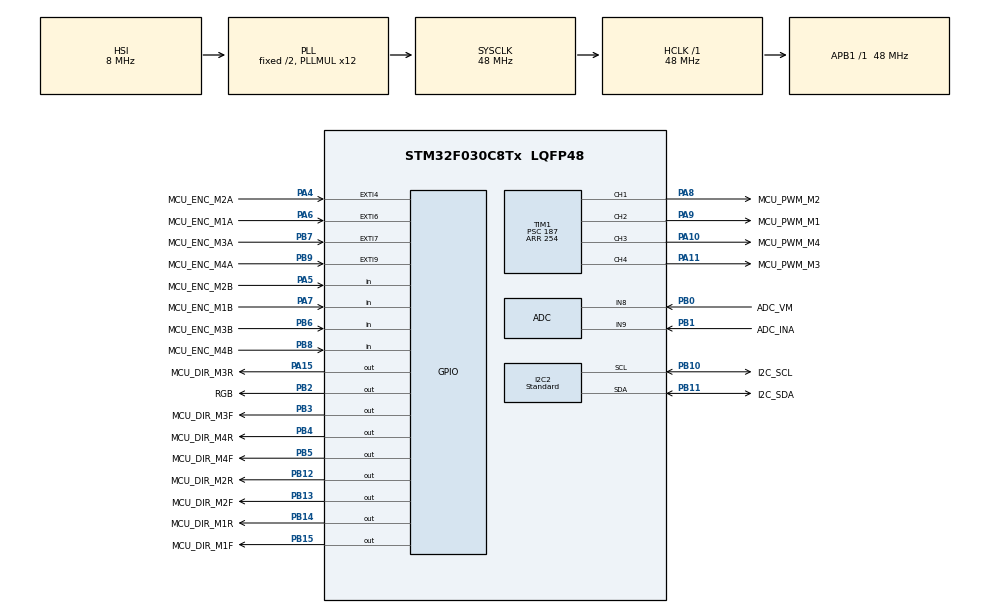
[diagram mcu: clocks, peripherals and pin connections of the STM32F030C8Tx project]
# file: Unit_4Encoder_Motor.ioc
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ADC.ClockPrescaler=ADC_CLOCK_SYNC_PCLK_DIV4
ADC.ContinuousConvMode=ENABLE
ADC.DMAContinuousRequests=ENABLE
ADC.SamplingTime=ADC_SAMPLETIME_239CYCLES_5
Dma.ADC.0.Direction=DMA_PERIPH_TO_MEMORY
Dma.ADC.0.Instance=DMA1_Channel1
Dma.ADC.0.MemDataAlignment=DMA_MDATAALIGN_HALFWORD
Dma.ADC.0.MemInc=DMA_MINC_ENABLE
Dma.ADC.0.Mode=DMA_CIRCULAR
Dma.ADC.0.PeriphDataAlignment=DMA_PDATAALIGN_HALFWORD
Dma.ADC.0.PeriphInc=DMA_PINC_DISABLE
Dma.ADC.0.Priority=DMA_PRIORITY_LOW
Dma.Request0=ADC
I2C2.I2C_Speed_Mode=I2C_Standard
I2C2.OwnAddress=48
I2C2.Timing=0x10805D88
IWDG.Prescaler=IWDG_PRESCALER_32
IWDG.Reload=4000
Mcu.Family=STM32F0
Mcu.Name=STM32F030C8Tx
Mcu.Package=LQFP48
NVIC.DMA1_Channel1_IRQn=true\:1\:0\:true\:false\:true\:false\:true\:true
NVIC.EXTI4_15_IRQn=true\:1\:0\:true\:false\:true\:true\:true\:true
NVIC.I2C2_IRQn=true\:0\:0\:false\:false\:true\:true\:true\:true
PA10.GPIO_Label=MCU_PWM_M4
PA10.Signal=S_TIM1_CH3
PA11.GPIO_Label=MCU_PWM_M3
PA11.Signal=S_TIM1_CH4
PA15.GPIO_Label=MCU_DIR_M3R
PA15.Signal=GPIO_Output
PA4.GPIO_Label=MCU_ENC_M2A
PA4.GPIO_ModeDefaultEXTI=GPIO_MODE_IT_RISING_FALLING
PA4.GPIO_PuPd=GPIO_PULLUP
PA4.Signal=GPXTI4
PA5.GPIO_Label=MCU_ENC_M2B
PA5.GPIO_PuPd=GPIO_NOPULL
PA5.Signal=GPIO_Input
PA6.GPIO_Label=MCU_ENC_M1A
PA6.GPIO_ModeDefaultEXTI=GPIO_MODE_IT_RISING_FALLING
PA6.Signal=GPXTI6
PA7.GPIO_Label=MCU_ENC_M1B
PA7.GPIO_PuPd=GPIO_NOPULL
PA7.Signal=GPIO_Input
PA8.GPIO_Label=MCU_PWM_M2
PA8.Signal=S_TIM1_CH1
PA9.GPIO_Label=MCU_PWM_M1
PA9.Signal=S_TIM1_CH2
PB0.GPIO_Label=ADC_VM
PB0.Mode=IN8
PB0.Signal=ADC_IN8
PB1.GPIO_Label=ADC_INA
PB1.Mode=IN9
PB1.Signal=ADC_IN9
PB10.GPIO_Label=I2C_SCL
PB10.Mode=I2C
PB10.Signal=I2C2_SCL
PB11.GPIO_Label=I2C_SDA
PB11.Mode=I2C
PB11.Signal=I2C2_SDA
PB12.GPIO_Label=MCU_DIR_M2R
PB12.Signal=GPIO_Output
PB13.GPIO_Label=MCU_DIR_M2F
PB13.Signal=GPIO_Output
PB14.GPIO_Label=MCU_DIR_M1R
PB14.Signal=GPIO_Output
PB15.GPIO_Label=MCU_DIR_M1F
PB15.Signal=GPIO_Output
PB2.GPIO_Label=RGB
PB2.Signal=GPIO_Output
PB3.GPIO_Label=MCU_DIR_M3F
PB3.Signal=GPIO_Output
PB4.GPIO_Label=MCU_DIR_M4R
PB4.Signal=GPIO_Output
PB5.GPIO_Label=MCU_DIR_M4F
PB5.Signal=GPIO_Output
PB6.GPIO_Label=MCU_ENC_M3B
PB6.Signal=GPIO_Input
PB7.GPIO_Label=MCU_ENC_M3A
PB7.GPIO_ModeDefaultEXTI=GPIO_MODE_IT_RISING_FALLING
PB7.GPIO_PuPd=GPIO_PULLUP
PB7.Signal=GPXTI7
PB8.GPIO_Label=MCU_ENC_M4B
PB8.Signal=GPIO_Input
PB9.GPIO_Label=MCU_ENC_M4A
PB9.GPIO_ModeDefaultEXTI=GPIO_MODE_IT_RISING_FALLING
PB9.GPIO_PuPd=GPIO_PULLUP
PB9.Signal=GPXTI9
ProjectManager.HeapSize=0x200
ProjectManager.StackSize=0x400
ProjectManager.TargetToolchain=STM32CubeIDE
RCC.AHBFreq_Value=48000000
RCC.APB1Freq_Value=48000000
RCC.APB1TimFreq_Value=48000000
RCC.HCLKFreq_Value=48000000
RCC.PLLMUL=RCC_PLL_MUL12
RCC.SYSCLKFreq_VALUE=48000000
RCC.SYSCLKSource=RCC_SYSCLKSOURCE_PLLCLK
SH.S_TIM1_CH1.0=TIM1_CH1,PWM Generation1 CH1
SH.S_TIM1_CH2.0=TIM1_CH2,PWM Generation2 CH2
SH.S_TIM1_CH3.0=TIM1_CH3,PWM Generation3 CH3
SH.S_TIM1_CH4.0=TIM1_CH4,PWM Generation4 CH4
TIM1.Channel-PWM\ Generation1\ CH1=TIM_CHANNEL_1
TIM1.Channel-PWM\ Generation2\ CH2=TIM_CHANNEL_2
TIM1.Channel-PWM\ Generation3\ CH3=TIM_CHANNEL_3
TIM1.Channel-PWM\ Generation4\ CH4=TIM_CHANNEL_4
TIM1.OCIdleState_1=TIM_OCIDLESTATE_SET
TIM1.OCIdleState_2=TIM_OCIDLESTATE_SET
TIM1.OCIdleState_3=TIM_OCIDLESTATE_SET
TIM1.OCIdleState_4=TIM_OCIDLESTATE_SET
TIM1.OCPolarity_1=TIM_OCPOLARITY_LOW
TIM1.OCPolarity_2=TIM_OCPOLARITY_LOW
TIM1.OCPolarity_3=TIM_OCPOLARITY_LOW
TIM1.OCPolarity_4=TIM_OCPOLARITY_LOW
TIM1.Period=254
TIM1.Prescaler=187
TIM1.TIM_MasterSlaveMode=TIM_MASTERSLAVEMODE_DISABLE
VP_ADC_Vref_Input.Mode=IN-Vrefint
VP_IWDG_VS_IWDG.Mode=IWDG_Activate
VP_TIM1_VS_ClockSourceINT.Mode=Internal
board=custom

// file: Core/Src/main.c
/* USER CODE BEGIN Header */
/**
 ******************************************************************************
 * @file           : main.c
 * @brief          : Main program body
 ******************************************************************************
 * @attention
 *
 * Copyright (c) 2025 STMicroelectronics.
 * All rights reserved.
 *
 * This software is licensed under terms that can be found in the LICENSE file
 * in the root directory of this software component.
 * If no LICENSE file comes with this software, it is provided AS-IS.
 *
 ******************************************************************************
 */
/* USER CODE END Header */
#include "main.h"
#include "adc.h"
#include "dma.h"
#include "i2c.h"
#include "iwdg.h"
#include "tim.h"
#include "gpio.h"

/* USER CODE BEGIN Includes */
#include "../myfiles/motorencoder.h"
#include "../myfiles/motorbdc.h"
#include "../myfiles/ws2812.h"
#include "../myfiles/pt_task.h"
#include "../myfiles/sys_utils.h"
#include "../myfiles/flash.h"
#include <string.h>
/* USER CODE END Includes */

/* USER CODE BEGIN PV */
volatile PeriError_TypeDef peri_error = {0};
volatile EventFlags_t g_events        = {0};
static uint8_t i2c_handle_tx_buf[128];
volatile uint8_t *p_bootloader_version = (volatile uint8_t *)BOOTLOADER_VER_ADDR;
volatile uint8_t fm_version            = FIRMWARE_VERSION;

volatile rgb_data_t rgb_data = {0};

// Device Unique identifier
__IO uint8_t g_uid[12] = {0};  // Unique identifier
/* USER CODE END PV */

void SystemClock_Config(void);

/* USER CODE BEGIN 0 */
uint32_t millis(void)
{
    return HAL_GetTick();
}

__STATIC_INLINE uint32_t GXT_SYSTICK_IsActiveCounterFlag(void)
{
    return ((SysTick->CTRL & SysTick_CTRL_COUNTFLAG_Msk) == (SysTick_CTRL_COUNTFLAG_Msk));
}

static uint32_t getCurrentMicros(void)
{
    /* Ensure COUNTFLAG is reset by reading SysTick control and status register */
    GXT_SYSTICK_IsActiveCounterFlag();
    uint32_t m         = HAL_GetTick();
    const uint32_t tms = SysTick->LOAD + 1;
    __IO uint32_t u    = tms - SysTick->VAL;
    if (GXT_SYSTICK_IsActiveCounterFlag()) {
        m = HAL_GetTick();
        u = tms - SysTick->VAL;
    }
    return (m * 1000 + (u * 1000) / tms);
}

// 获取系统时间，单位us
uint32_t micros(void)
{
    return getCurrentMicros();
}

static void Prepare_I2C_Read_Response(uint8_t reg)
{
    i2c2_set_send_data(NULL, 0);

    if ((reg >= I2C_RX_MOTOR_THROTTLE_BASE) && (reg <= I2C_RX_MOTOR_CONFIG_LIMIT)) {
        if ((reg >= I2C_RX_MOTOR_THROTTLE_BASE) && (reg <= (I2C_RX_MOTOR_THROTTLE_BASE + 3))) {
            uint8_t motor_id     = reg - I2C_RX_MOTOR_THROTTLE_BASE;
            i2c_handle_tx_buf[0] = motor_data.motor_throttle[motor_id];
            i2c2_set_send_data((uint8_t *)&i2c_handle_tx_buf[0], 1);
        } else if ((reg >= I2C_RX_ENCODER_BASE) && (reg <= (I2C_RX_ENCODER_BASE + 15))) {
            uint8_t encoder_offset = reg - I2C_RX_ENCODER_BASE;
            uint8_t motor_id       = encoder_offset / 4;
            uint8_t byte_index     = encoder_offset % 4;

            if (motor_id < 4) {
                uint32_t raw_value = encoder_raw[motor_id].encoder_raw.value;
                uint8_t encoder_bytes[4];
                encoder_bytes[3] = (raw_value >> 24) & 0xFF;
                encoder_bytes[2] = (raw_value >> 16) & 0xFF;
                encoder_bytes[1] = (raw_value >> 8) & 0xFF;
                encoder_bytes[0] = raw_value & 0xFF;

                uint8_t remaining_bytes = 4 - byte_index;
                memcpy(&i2c_handle_tx_buf[0], &encoder_bytes[byte_index], remaining_bytes);
                i2c2_set_send_data((uint8_t *)&i2c_handle_tx_buf[0], remaining_bytes);
            }
        } else if ((reg >= I2C_TX_SPEED_VALUE_ADDR) && (reg <= (I2C_TX_SPEED_VALUE_ADDR + 3))) {
            uint8_t motor_id = reg - I2C_TX_SPEED_VALUE_ADDR;
            if (motor_id < 4) {
                i2c_handle_tx_buf[0] = motor_data.speed[motor_id];
                i2c2_set_send_data((uint8_t *)&i2c_handle_tx_buf[0], 1);
            }
        } else if ((reg >= I2C_RX_MOTOR_CONFIG_BASE) && (reg <= I2C_RX_MOTOR_CONFIG_LIMIT)) {
            uint8_t config_index = 0;
            uint8_t motor_id     = 4;

            if ((reg >= I2C_RX_MOTOR1_CONFIG_ADDR) && (reg < I2C_RX_MOTOR1_CONFIG_ADDR + I2C_RX_MOTOR_CONFIG_COUNT)) {
                config_index = reg - I2C_RX_MOTOR1_CONFIG_ADDR;
                motor_id     = 0;
            } else if ((reg >= I2C_RX_MOTOR2_CONFIG_ADDR) &&
                       (reg < I2C_RX_MOTOR2_CONFIG_ADDR + I2C_RX_MOTOR_CONFIG_COUNT)) {
                config_index = reg - I2C_RX_MOTOR2_CONFIG_ADDR;
                motor_id     = 1;
            } else if ((reg >= I2C_RX_MOTOR3_CONFIG_ADDR) &&
                       (reg < I2C_RX_MOTOR3_CONFIG_ADDR + I2C_RX_MOTOR_CONFIG_COUNT)) {
                config_index = reg - I2C_RX_MOTOR3_CONFIG_ADDR;
                motor_id     = 2;
            } else if ((reg >= I2C_RX_MOTOR4_CONFIG_ADDR) &&
                       (reg < I2C_RX_MOTOR4_CONFIG_ADDR + I2C_RX_MOTOR_CONFIG_COUNT)) {
                config_index = reg - I2C_RX_MOTOR4_CONFIG_ADDR;
                motor_id     = 3;
            }

            if ((motor_id < 4) && (config_index < I2C_RX_MOTOR_CONFIG_COUNT)) {
                uint8_t remaining_configs = I2C_RX_MOTOR_CONFIG_COUNT - config_index;
                memcpy(&i2c_handle_tx_buf[0], &motor_data.config[motor_id][config_index], remaining_configs);
                i2c2_set_send_data((uint8_t *)&i2c_handle_tx_buf[0], remaining_configs);
            }
        }
    } else if ((reg >= I2C_TX_ADC_CURRENT_VALUE_ADDR) && (reg <= I2C_TX_ADC_CURRENT_MAX_ADDR)) {
        memcpy(&i2c_handle_tx_buf[0], (uint8_t *)&adc_data.i_in_value, 4);
        i2c2_set_send_data((uint8_t *)&i2c_handle_tx_buf[reg - I2C_TX_ADC_CURRENT_VALUE_ADDR],
                           I2C_TX_ADC_CURRENT_MAX_ADDR - reg + 1);
    } else if ((reg >= I2C_TX_ADC_INA_RAW_VALUE_ADDR) && (reg <= I2C_TX_ADC_INA_RAW_MAX_ADDR)) {
        uint16_t adc_ina_raw = adc_data.adc_ina_raw;
        i2c_handle_tx_buf[0] = (uint8_t)(adc_ina_raw & 0xFF);
        i2c_handle_tx_buf[1] = (uint8_t)((adc_ina_raw >> 8) & 0xFF);
        i2c2_set_send_data((uint8_t *)&i2c_handle_tx_buf[reg - I2C_TX_ADC_INA_RAW_VALUE_ADDR],
                           I2C_TX_ADC_INA_RAW_MAX_ADDR - reg + 1);
    } else if ((reg >= I2C_TX_ADC_VM_VALUE_ADDR) && (reg <= I2C_TX_ADC_VM_MAX_ADDR)) {
        memcpy(&i2c_handle_tx_buf[0], (uint8_t *)&adc_data.uiAdcValueBuf[1], 2);
        memcpy(&i2c_handle_tx_buf[I2C_TX_MV_VM_VALUE_ADDR - I2C_TX_ADC_VM_VALUE_ADDR],
               (uint8_t *)&adc_data.voltage_vm_mv, 2);
        i2c2_set_send_data((uint8_t *)&i2c_handle_tx_buf[reg - I2C_TX_ADC_VM_VALUE_ADDR],
                           I2C_TX_ADC_VM_MAX_ADDR - reg + 1);
    } else if (reg == I2C_RX_SYSTEM_SETTINGS_BASE) {
        i2c_handle_tx_buf[0] = motor_data.encoder_ab_mode;
        i2c2_set_send_data((uint8_t *)&i2c_handle_tx_buf[0], 1);
    } else if (reg == I2C_RX_SOFT_START_AND_STOP) {
        i2c_handle_tx_buf[0] = motor_data.soft_start_stop_switch.value;
        i2c2_set_send_data((uint8_t *)&i2c_handle_tx_buf[0], 1);
    } else if ((reg >= I2C_TX_UID_VALUE_ADDR) && (reg <= I2C_TX_UID_VALUE_MAX_ADDR)) {
        uint8_t uid_offset = reg - I2C_TX_UID_VALUE_ADDR;
        if (uid_offset < sizeof(g_uid)) {
            uint8_t remaining_uid_bytes = sizeof(g_uid) - uid_offset;
            memcpy(&i2c_handle_tx_buf[0], (uint8_t *)&g_uid[uid_offset], remaining_uid_bytes);
            i2c2_set_send_data((uint8_t *)&i2c_handle_tx_buf[0], remaining_uid_bytes);
        }
    } else if ((reg >= I2C_RX_RGB_SETTINGS_BASE) && (reg <= I2C_RX_RGB_SETTINGS_LIMIT)) {
        if (reg == I2C_RX_RGB_SETTINGS_BASE) {
            memcpy(&i2c_handle_tx_buf[0], (uint8_t *)&rgb_data.rgb_data.value, 4);
            i2c2_set_send_data((uint8_t *)&i2c_handle_tx_buf[0], 4);
        } else if (reg == I2C_RX_RGB_SETTINGS_BASE + 4) {
            i2c_handle_tx_buf[0] = rgb_data.brightness;
            i2c2_set_send_data((uint8_t *)&i2c_handle_tx_buf[0], 1);
        }
    } else if ((reg >= I2C_TX_ERROR_BASE_ADDR) && (reg <= I2C_RX_I2C_ADDR_CMD_ADDR)) {
        i2c_handle_tx_buf[0] = peri_error.value;
        i2c_handle_tx_buf[1] = *p_bootloader_version;
        i2c_handle_tx_buf[2] = 0;
        i2c_handle_tx_buf[3] = fm_version;
        i2c_handle_tx_buf[4] = i2c_address[0];
        i2c2_set_send_data((uint8_t *)&i2c_handle_tx_buf[reg - I2C_TX_ERROR_BASE_ADDR],
                           I2C_RX_I2C_ADDR_CMD_ADDR - reg + 1);
    }
}

/** four */
void Slave_Complete_Callback(uint8_t *rx_data, uint16_t len)
{
    if (len == 1) {
        Prepare_I2C_Read_Response(rx_data[0]);
        return;
    }

    uint8_t rx_buf[128]  = {0};
    uint8_t rx_mark[128] = {0};

    // 主机写数据
    if (len > 1) {
        if ((rx_data[0] >= I2C_RX_MOTOR_THROTTLE_BASE) && (rx_data[0] <= I2C_RX_MOTOR_CONFIG_LIMIT)) {  // Motor Control
            for (int i = 0; i < len - 1; i++) {
                uint16_t rx_index = rx_data[0] - I2C_RX_MOTOR_THROTTLE_BASE + i;  // Get Control Register Index
                if (rx_index < sizeof(rx_buf)) {
                    rx_buf[rx_index]  = rx_data[1 + i];
                    rx_mark[rx_index] = 1;
                }
            }

            for (int i = 0; i < len - 1; i++) {
                uint16_t reg = (uint16_t)rx_data[0] + i;
                if ((reg >= I2C_RX_MOTOR_THROTTLE_BASE) && (reg <= (I2C_RX_MOTOR_THROTTLE_BASE + 3))) {
                    motor_data.motor_throttle[reg - I2C_RX_MOTOR_THROTTLE_BASE] = rx_data[1 + i];
                }
            }

            // 处理电机周期控制 (0x20-0x23)
            if ((rx_data[0] >= I2C_RX_MOTOR_THROTTLE_BASE) && (rx_data[0] <= (I2C_RX_MOTOR_THROTTLE_BASE + 3))) {
                uint8_t motor_id = rx_data[0] - I2C_RX_MOTOR_THROTTLE_BASE;   // 0,1,2,3
                if (rx_mark[rx_data[0] - I2C_RX_MOTOR_THROTTLE_BASE] == 1) {  // Get Specific motor id and data
                    motor_data.motor_throttle[motor_id] = rx_buf[rx_data[0] - I2C_RX_MOTOR_THROTTLE_BASE];
                }
            }

            // 处理编码器数据 (0x30-0x3F)
            if ((rx_data[0] >= I2C_RX_ENCODER_BASE) && (rx_data[0] <= (I2C_RX_ENCODER_BASE + 0x0F))) {
                uint8_t encoder_offset = rx_data[0] - I2C_RX_ENCODER_BASE;
                uint8_t motor_id       = encoder_offset / 4;  // 每个电机占用4个字节
                uint8_t byte_index     = encoder_offset % 4;  // 字节索引 (0,1,2,3)

                if (motor_id < 4) {  // 确保电机ID有效
                    for (int i = 0; i < 4; i++) {
                        if (((byte_index + i) < 4) && (rx_mark[rx_data[0] - I2C_RX_MOTOR_THROTTLE_BASE + i] == 1)) {
                            switch (byte_index + i) {
                                case 0:  // LSB
                                    encoder_raw[motor_id].encoder_raw.flags.encoder_raw_0 =
                                        rx_buf[rx_data[0] - I2C_RX_MOTOR_THROTTLE_BASE + i];
                                    break;
                                case 1:
                                    encoder_raw[motor_id].encoder_raw.flags.encoder_raw_1 =
                                        rx_buf[rx_data[0] - I2C_RX_MOTOR_THROTTLE_BASE + i];
                                    break;
                                case 2:
                                    encoder_raw[motor_id].encoder_raw.flags.encoder_raw_2 =
                                        rx_buf[rx_data[0] - I2C_RX_MOTOR_THROTTLE_BASE + i];
                                    break;
                                case 3:  // MSB
                                    encoder_raw[motor_id].encoder_raw.flags.encoder_raw_3 =
                                        rx_buf[rx_data[0] - I2C_RX_MOTOR_THROTTLE_BASE + i];
                                    break;
                            }
                        }
                    }
                }
            }

            // 处理电机配置数据 (0x50-0x8C)
            if ((rx_data[0] >= I2C_RX_MOTOR_CONFIG_BASE) && (rx_data[0] <= I2C_RX_MOTOR_CONFIG_LIMIT)) {
                uint8_t config_index = 0;
                uint8_t motor_id     = 4;

                // 配置电机0 0x50_0x5C
                if ((rx_data[0] >= I2C_RX_MOTOR1_CONFIG_ADDR) &&
                    (rx_data[0] < I2C_RX_MOTOR1_CONFIG_ADDR + I2C_RX_MOTOR_CONFIG_COUNT)) {
                    config_index = rx_data[0] - I2C_RX_MOTOR1_CONFIG_ADDR;
                    motor_id     = 0;
                }
                // 配置电机1 0x60_0x6C
                else if ((rx_data[0] >= I2C_RX_MOTOR2_CONFIG_ADDR) &&
                         (rx_data[0] < I2C_RX_MOTOR2_CONFIG_ADDR + I2C_RX_MOTOR_CONFIG_COUNT)) {
                    config_index = rx_data[0] - I2C_RX_MOTOR2_CONFIG_ADDR;
                    motor_id     = 1;
                }
                // 配置电机2 0x70_0x7C
                else if ((rx_data[0] >= I2C_RX_MOTOR3_CONFIG_ADDR) &&
                         (rx_data[0] < I2C_RX_MOTOR3_CONFIG_ADDR + I2C_RX_MOTOR_CONFIG_COUNT)) {
                    config_index = rx_data[0] - I2C_RX_MOTOR3_CONFIG_ADDR;
                    motor_id     = 2;
                }
                // 配置电机3 0x80_0x8C
                else if ((rx_data[0] >= I2C_RX_MOTOR4_CONFIG_ADDR) &&
                         (rx_data[0] < I2C_RX_MOTOR4_CONFIG_ADDR + I2C_RX_MOTOR_CONFIG_COUNT)) {
                    config_index = rx_data[0] - I2C_RX_MOTOR4_CONFIG_ADDR;
                    motor_id     = 3;
                }
                if (motor_id < 4) {  // 确保索引有效
                    for (int i = 0; i < len - 1; i++) {
                        uint16_t current_config_index = config_index + i;
                        //						if (current_config_index < I2C_RX_MOTOR_CONFIG_COUNT) {
                        uint16_t rx_idx = rx_data[0] - I2C_RX_MOTOR_THROTTLE_BASE + i;
                        if ((current_config_index < I2C_RX_MOTOR_CONFIG_COUNT) && (rx_idx < sizeof(rx_mark)) &&
                            (rx_mark[rx_idx] == 1)) {
                            motor_data.config[motor_id][current_config_index] = rx_buf[rx_idx];
                        }
                        //							if ((current_config_index == 12)) {
                        // printf("motor_id:%d, write addr:0x%02x, data:%d\r\n", motor_id, current_config_index,
                        // rx_buf[rx_idx]);
                        //							}
                        //						}
                    }
                }
            }
        }
        // System Setting
        // 设置A/B编码器模式(0xD0) 和 软启动开关
        else if ((rx_data[0] >= I2C_RX_SYSTEM_SETTINGS_BASE) && (rx_data[0] <= I2C_RX_SYSTEM_SETTINGS_LIMIT)) {
            for (int i = 0; i < len - 1; i++) {
                uint16_t rx_index = rx_data[0] - I2C_RX_SYSTEM_SETTINGS_BASE + i;  // Get Control Register Index
                if (rx_index < sizeof(rx_buf)) {
                    rx_buf[rx_index]  = rx_data[1 + i];
                    rx_mark[rx_index] = 1;
                }
            }
            // set encoder a/b mode
            if (rx_mark[0] == 1) {  // switch A/B mode
                if (motor_data.encoder_ab_mode != rx_buf[0]) {
                    motor_data.encoder_ab_mode     = rx_buf[0];
                    g_events.encoder_abmode_update = 1;
                    g_events.flash_config_update   = 1;
                }
            }
            if (rx_mark[I2C_RX_SOFT_START_AND_STOP - I2C_RX_SYSTEM_SETTINGS_BASE] == 1) {
                if (motor_data.soft_start_stop_switch.value !=
                    rx_buf[I2C_RX_SOFT_START_AND_STOP - I2C_RX_SYSTEM_SETTINGS_BASE]) {
                    motor_data.soft_start_stop_switch.value =
                        rx_buf[I2C_RX_SOFT_START_AND_STOP - I2C_RX_SYSTEM_SETTINGS_BASE];
                    g_events.flash_config_update = 1;
                }
            }
        }
        // set rgb color and brightness(0xC0-0xC4)
        else if ((rx_data[0] >= I2C_RX_RGB_SETTINGS_BASE) && (rx_data[0] <= I2C_RX_RGB_SETTINGS_LIMIT)) {
            for (int i = 0; i < len - 1; i++) {
                uint16_t rx_index = rx_data[0] - I2C_RX_RGB_SETTINGS_BASE + i;
                if (rx_index < sizeof(rx_buf)) {
                    rx_buf[rx_index]  = rx_data[1 + i];
                    rx_mark[rx_index] = 1;
                }
            }
            if (rx_mark[I2C_RX_RGB_SETTINGS_BASE - I2C_RX_RGB_SETTINGS_BASE] == 1) {
                rgb_data.rgb_data.flags.rgb_data_b = rx_buf[I2C_RX_RGB_SETTINGS_BASE - I2C_RX_RGB_SETTINGS_BASE];
            }
            if (rx_mark[(I2C_RX_RGB_SETTINGS_BASE + 1) - I2C_RX_RGB_SETTINGS_BASE] == 1) {
                rgb_data.rgb_data.flags.rgb_data_g = rx_buf[(I2C_RX_RGB_SETTINGS_BASE + 1) - I2C_RX_RGB_SETTINGS_BASE];
            }
            if (rx_mark[(I2C_RX_RGB_SETTINGS_BASE + 2) - I2C_RX_RGB_SETTINGS_BASE] == 1) {
                rgb_data.rgb_data.flags.rgb_data_r = rx_buf[(I2C_RX_RGB_SETTINGS_BASE + 2) - I2C_RX_RGB_SETTINGS_BASE];
            }
            if (rx_mark[(I2C_RX_RGB_SETTINGS_BASE + 4) - I2C_RX_RGB_SETTINGS_BASE] == 1) {
                rgb_data.brightness = rx_buf[(I2C_RX_RGB_SETTINGS_BASE + 4) - I2C_RX_RGB_SETTINGS_BASE];
            }
            if (rx_mark[I2C_RX_RGB_SETTINGS_BASE - I2C_RX_RGB_SETTINGS_BASE] ||
                rx_mark[(I2C_RX_RGB_SETTINGS_BASE + 1) - I2C_RX_RGB_SETTINGS_BASE] ||
                rx_mark[(I2C_RX_RGB_SETTINGS_BASE + 2) - I2C_RX_RGB_SETTINGS_BASE] ||
                rx_mark[(I2C_RX_RGB_SETTINGS_BASE + 4) - I2C_RX_RGB_SETTINGS_BASE]) {
                enqueue_config_request(rgb_data);
                g_events.rgb_update = 1;
            }
        }
        // change I2C slave Address(0xFF)
        else if (rx_data[0] == I2C_RX_I2C_ADDR_CMD_ADDR) {
            if (len == 2) {
                if ((rx_data[1] >= I2C_MIN_ADDR_VALUE) && (rx_data[1] <= I2C_MAX_ADDR_VALUE)) {
                    if (i2c_address[0] != rx_data[1]) {
                        i2c_address[0]                  = rx_data[1];
                        g_events.i2c_addr_config_update = 1;
                        g_events.flash_config_update    = 1;
                    }
                }
            }
        }
        // IAP Update(0xFD)
        else if (rx_data[0] == I2C_RX_JUMP_TO_BOOTLOADER_ADDR) {
            if (rx_data[1] == 1) {
                g_events.jump_to_bootloader = 1;
            }
        }
    }
    // 主机读数据
}

void iap_set(void)
{
    uint8_t i;                                     // Loop index
    uint32_t *pVecTab = (uint32_t *)(0x20000000);  // Pointer to the vector table in SRAM

    // Copy the interrupt vector table from the application address to SRAM
    for (i = 0; i < 48; i++) {
        // Copy each vector entry to the SRAM vector table
        *(pVecTab++) = *(__IO uint32_t *)(APPLICATION_ADDRESS + (i << 2));
    }

    // Enable the SYSCFG peripheral clock
    __HAL_RCC_SYSCFG_CLK_ENABLE();

    // Remap the memory to use SRAM for the vector table
    __HAL_SYSCFG_REMAPMEMORY_SRAM();
}

void read_uid(void)
{
    uint32_t uid0 = HAL_GetUIDw0();
    uint32_t uid1 = HAL_GetUIDw1();
    uint32_t uid2 = HAL_GetUIDw2();

    memcpy(&g_uid[0], &uid0, 4);
    memcpy(&g_uid[4], &uid1, 4);
    memcpy(&g_uid[8], &uid2, 4);
}

/* USER CODE END 0 */

int main(void)
{
    /* USER CODE BEGIN 1 */
    iap_set();
    read_uid();
    /* USER CODE END 1 */

    /* MCU Configuration--------------------------------------------------------*/

    /* Reset of all peripherals, Initializes the Flash interface and the Systick. */
    HAL_Init();

    /* Configure the system clock */
    SystemClock_Config();

    /* Initialize all configured peripherals */
    MX_GPIO_Init();
    MX_DMA_Init();
    MX_ADC_Init();
    MX_TIM1_Init();
    MX_I2C2_Init();
    MX_IWDG_Init();
    /* USER CODE BEGIN 2 */
    HAL_IWDG_Refresh(&hiwdg);
    init_flash_data();
    user_gpio_init();
    if (HAL_ADCEx_Calibration_Start(&hadc) != HAL_OK) {
        peri_error.flags.adc_setup = 1;
    }
    if (HAL_ADC_Start_DMA(&hadc, (uint32_t *)adc_data.mirrorAdcValueBuf, ADC_DMA_BUFFER_LENGTH) != HAL_OK) {
        peri_error.flags.adc_setup = 1;
    }
    HAL_IWDG_Refresh(&hiwdg);
    sk6812_init(1);
    InitMotorPwm();
    InitMotorEncoder();
    init_motor();
    init_pt_task();
    user_i2c_init();
    i2c2_it_enable();

    rgb_data.rgb_data.value = 0;
    rgb_data.brightness     = 20;
    neopixel_set_color_brightness(0, rgb_data.rgb_data.value, rgb_data.brightness);
    neopixel_show();

    /* USER CODE END 2 */

    /* Infinite loop */
    while (1) {

        /* USER CODE BEGIN 3 */
        main_scheduler(&main_pt);
    }
    /* USER CODE END 3 */
}

void SystemClock_Config(void)
{
    RCC_OscInitTypeDef RCC_OscInitStruct = {0};
    RCC_ClkInitTypeDef RCC_ClkInitStruct = {0};

    /** Initializes the RCC Oscillators according to the specified parameters
     * in the RCC_OscInitTypeDef structure.
     */
    RCC_OscInitStruct.OscillatorType      = RCC_OSCILLATORTYPE_HSI | RCC_OSCILLATORTYPE_LSI;
    RCC_OscInitStruct.HSIState            = RCC_HSI_ON;
    RCC_OscInitStruct.HSICalibrationValue = RCC_HSICALIBRATION_DEFAULT;
    RCC_OscInitStruct.LSIState            = RCC_LSI_ON;
    RCC_OscInitStruct.PLL.PLLState        = RCC_PLL_ON;
    RCC_OscInitStruct.PLL.PLLSource       = RCC_PLLSOURCE_HSI;
    RCC_OscInitStruct.PLL.PLLMUL          = RCC_PLL_MUL12;
    RCC_OscInitStruct.PLL.PREDIV          = RCC_PREDIV_DIV1;
    if (HAL_RCC_OscConfig(&RCC_OscInitStruct) != HAL_OK) {
        Error_Handler();
    }

    /** Initializes the CPU, AHB and APB buses clocks
     */
    RCC_ClkInitStruct.ClockType      = RCC_CLOCKTYPE_HCLK | RCC_CLOCKTYPE_SYSCLK | RCC_CLOCKTYPE_PCLK1;
    RCC_ClkInitStruct.SYSCLKSource   = RCC_SYSCLKSOURCE_PLLCLK;
    RCC_ClkInitStruct.AHBCLKDivider  = RCC_SYSCLK_DIV1;
    RCC_ClkInitStruct.APB1CLKDivider = RCC_HCLK_DIV1;

    if (HAL_RCC_ClockConfig(&RCC_ClkInitStruct, FLASH_LATENCY_1) != HAL_OK) {
        Error_Handler();
    }
}

void Error_Handler(void)
{
    __disable_irq();
    while (1) {
    }
}
